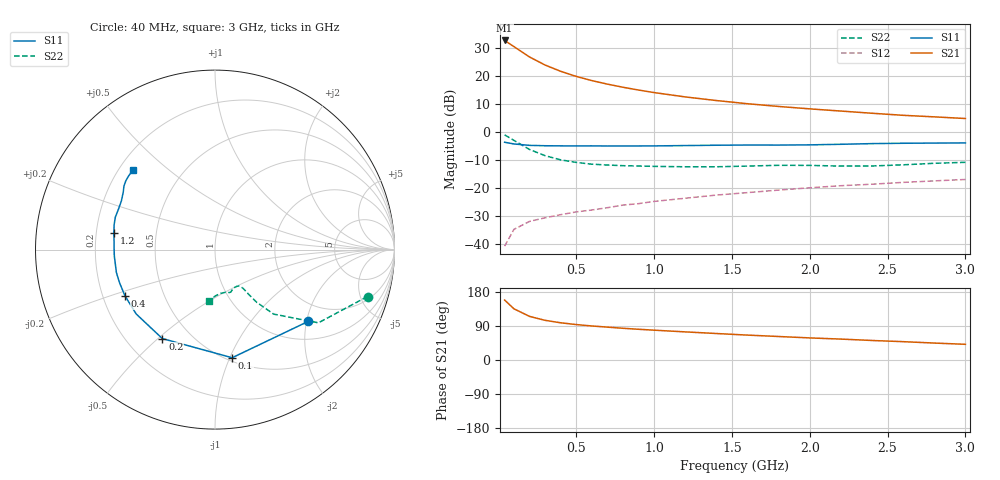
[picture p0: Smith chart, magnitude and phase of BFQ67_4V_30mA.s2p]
! Filename:  BFG67F.S2P  Version:  2.0
! Philips part #: BFG 67  Date: Jul 1990
! Bias condition: Vce=4V, Ic=30mA
! IN LINE PINNING: same data as with cross emitter pinning.
#  MHz  S  MA  R  50
! Freq  S11  S21  S12  S22  !GUM [dB]
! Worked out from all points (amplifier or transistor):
!   21 points, 40 MHz to 3 GHz, reference 50 ohm
!   highest |S21| = 32.8 dB at 40 MHz (marker M1)
!   |S21| within 3 dB of that: start of sweep to 121.3 MHz
!   unconditionally stable (mu >= 1): 653.9 MHz to end of sweep
!   at 300 MHz: K = 0.66, MSG = 27.4 dB, |S12| = -30.8 dB
!   at 1 GHz: K = 1.13, MAG = 17.4 dB, |S12| = -24.9 dB
!   at 3 GHz: K = 1.16, MAG = 8.5 dB, |S12| = -17.0 dB
!   S11 on the Smith chart (normalised r, x): 40 MHz: 1.45, -2.04; 100 MHz: 0.53, -1.02; 200 MHz: 0.35, -0.52; 400 MHz: 0.29, -0.22; 1.2 GHz: 0.27, +0.08; 3 GHz: 0.26, +0.38
40  0.655 -37.7  43.64 158.2  0.009 74.4  0.889 -17.1
100  0.61 -81.0  33.84 135.1  0.018 57.4  0.706 -35.3
200  0.576 -120.6  22.08 115.1  0.025 49.3  0.486 -47.7
300  0.567 -140.8  15.82 104.7  0.029 48.0  0.376 -51.6
400  0.564 -152.8  12.23 98.2  0.033 50.0  0.317 -52.9
500  0.563 -161.0  9.907 93.5  0.037 51.7  0.285 -53.6
600  0.564 -166.9  8.336 89.8  0.04 53.9  0.265 -54.2
700  0.561 -171.8  7.203 86.7  0.044 55.8  0.256 -54.9
800  0.562 -176.1  6.333 83.7  0.049 57.6  0.249 -55.6
900  0.562 -179.8  5.645 81.1  0.052 59.0  0.246 -56.3
1000  0.563 176.6  5.086 78.7  0.057 60.4  0.242 -57.0
1200  0.571 170.7  4.25 74.2  0.065 61.7  0.238 -59.5
1400  0.579 166.0  3.659 69.9  0.074 62.5  0.238 -63.4
1600  0.584 161.9  3.21 65.7  0.082 63.9  0.245 -67.3
1800  0.583 157.5  2.866 62.0  0.091 63.7  0.253 -69.6
2000  0.588 152.5  2.596 58.3  0.1 64.1  0.252 -71.6
2200  0.602 148.2  2.371 55.2  0.109 64.1  0.245 -76.1
2400  0.619 145.0  2.166 51.5  0.116 64.2  0.246 -83.2
2600  0.628 142.2  1.99 48.4  0.125 64.2  0.258 -89.5
2800  0.633 139.2  1.866 44.7  0.133 62.9  0.275 -93.8
3000  0.637 135.6  1.743 41.4  0.141 62.8  0.286 -96.8
